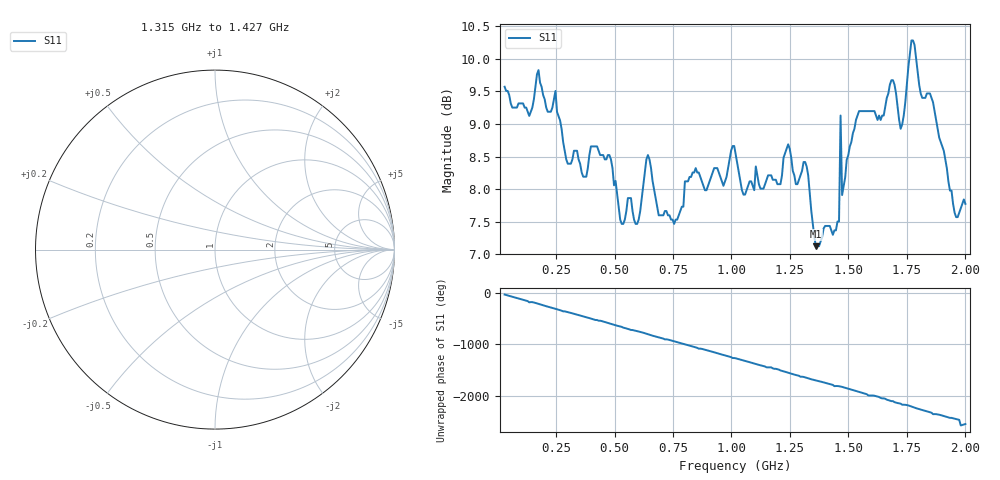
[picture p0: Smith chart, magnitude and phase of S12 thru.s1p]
# Hz S DB R 50.000000
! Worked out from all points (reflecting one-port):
!   300 points, 30 MHz to 2 GHz, reference 50 ohm
!   lowest |S11| = 7.1 dB at 1.361 GHz (marker M1)
!   phase of S11 starts at -37 deg and turns -2506 deg over the sweep
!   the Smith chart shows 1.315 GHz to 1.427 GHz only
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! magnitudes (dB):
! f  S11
! 30 MHz  9.6
! 135.4 MHz  9.1
! 174.9 MHz  9.8
! 280.4 MHz  8.7
! 366 MHz  8.2
! 478 MHz  8.5
! 524.1 MHz  7.5
! 596.6 MHz  7.5
! 642.7 MHz  8.5
! 688.9 MHz  7.6
! 774.5 MHz  7.6
! 847 MHz  8.3
! 1.018 GHz  8.5
! 1.051 GHz  7.9
! 1.242 GHz  8.7
! 1.262 GHz  8.3
! 1.321 GHz  8.3
! 1.361 GHz  7.1
! 1.46 GHz  7.5
! 1.466 GHz  9.1
! 1.473 GHz  7.9
! 1.512 GHz  8.7
! 1.684 GHz  9.7
! 1.723 GHz  8.9
! 1.756 GHz  9.9
! 1.776 GHz  10.3
! 1.954 GHz  7.6
! 2 GHz  7.8
